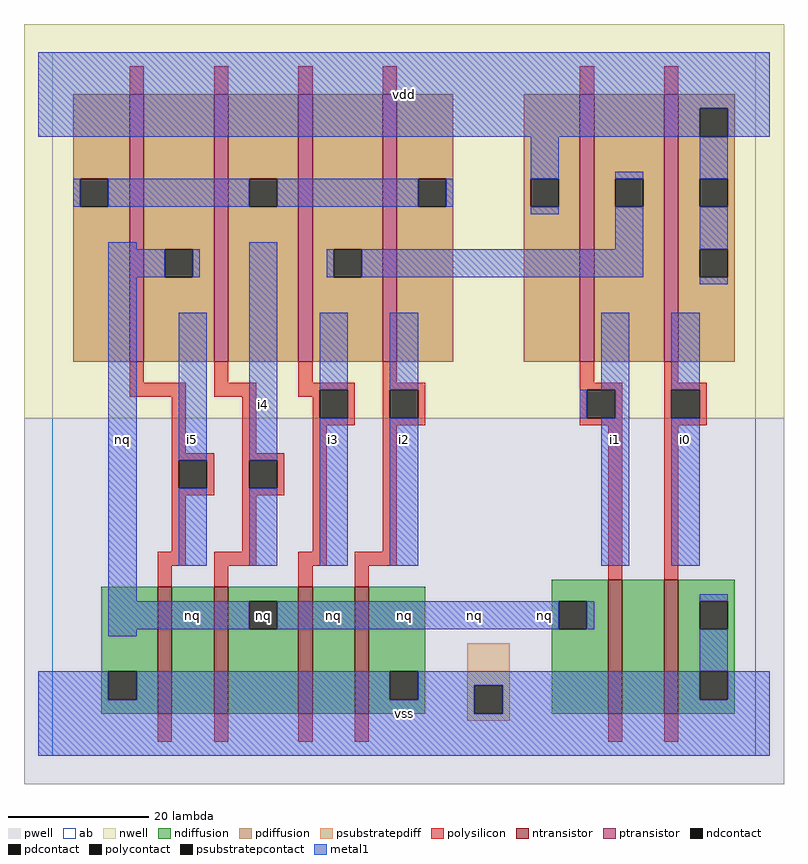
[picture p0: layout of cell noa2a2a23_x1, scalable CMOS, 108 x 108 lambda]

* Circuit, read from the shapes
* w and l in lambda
.subckt noa2a2a23_x1 i0 i1 i2 i3 i4 i5 nq vdd vss
M1 n1 i5 vss vss nfet w=18 l=2
M2 nq i4 n1 vss nfet w=18 l=2
M3 n2 i3 nq vss nfet w=18 l=2
M4 vss i2 n2 vss nfet w=18 l=2
M5 n3 i1 nq vss nfet w=19 l=2
M6 vss i0 n3 vss nfet w=19 l=2
M7 nq i5 n4 n5 pfet w=38 l=2
M8 n4 i4 nq n5 pfet w=38 l=2
M9 n6 i3 n4 n5 pfet w=38 l=2
M10 n4 i2 n6 n5 pfet w=38 l=2
M11 n6 i1 vdd n5 pfet w=38 l=2
M12 vdd i0 n6 n5 pfet w=38 l=2
.ends

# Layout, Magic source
magic
tech scmos
<< ab >>
rect 0 0 100 100
<< pwell >>
rect -4 -4 104 48
<< nwell >>
rect -4 48 104 104
<< polysilicon >>
rect 11 94 13 98
rect 23 94 25 98
rect 35 94 37 98
rect 47 94 49 98
rect 75 94 77 98
rect 87 94 89 98
rect 11 53 13 56
rect 23 53 25 56
rect 35 53 37 56
rect 47 53 49 56
rect 75 53 77 56
rect 87 53 89 56
rect 11 51 19 53
rect 23 51 29 53
rect 35 52 43 53
rect 35 51 38 52
rect 17 43 19 51
rect 27 43 29 51
rect 37 48 38 51
rect 42 48 43 52
rect 37 47 43 48
rect 47 52 53 53
rect 47 48 48 52
rect 52 48 53 52
rect 47 47 53 48
rect 75 52 81 53
rect 75 48 76 52
rect 80 48 81 52
rect 75 47 81 48
rect 17 42 23 43
rect 17 38 18 42
rect 22 38 23 42
rect 17 37 23 38
rect 27 42 33 43
rect 27 38 28 42
rect 32 38 33 42
rect 27 37 33 38
rect 17 29 19 37
rect 27 29 29 37
rect 37 29 39 47
rect 47 29 49 47
rect 15 27 19 29
rect 23 27 29 29
rect 35 27 39 29
rect 43 27 49 29
rect 15 24 17 27
rect 23 24 25 27
rect 35 24 37 27
rect 43 24 45 27
rect 79 25 81 47
rect 87 52 93 53
rect 87 48 88 52
rect 92 48 93 52
rect 87 47 93 48
rect 87 25 89 47
rect 15 2 17 6
rect 23 2 25 6
rect 35 2 37 6
rect 43 2 45 6
rect 79 2 81 6
rect 87 2 89 6
<< ndiffusion >>
rect 7 12 15 24
rect 7 8 8 12
rect 12 8 15 12
rect 7 6 15 8
rect 17 6 23 24
rect 25 22 35 24
rect 25 18 28 22
rect 32 18 35 22
rect 25 6 35 18
rect 37 6 43 24
rect 45 12 53 24
rect 71 22 79 25
rect 71 18 72 22
rect 76 18 79 22
rect 45 8 48 12
rect 52 8 53 12
rect 45 6 53 8
rect 71 6 79 18
rect 81 6 87 25
rect 89 22 97 25
rect 89 18 92 22
rect 96 18 97 22
rect 89 12 97 18
rect 89 8 92 12
rect 96 8 97 12
rect 89 6 97 8
<< pdiffusion >>
rect 3 82 11 94
rect 3 78 4 82
rect 8 78 11 82
rect 3 56 11 78
rect 13 72 23 94
rect 13 68 16 72
rect 20 68 23 72
rect 13 56 23 68
rect 25 82 35 94
rect 25 78 28 82
rect 32 78 35 82
rect 25 56 35 78
rect 37 72 47 94
rect 37 68 40 72
rect 44 68 47 72
rect 37 56 47 68
rect 49 82 57 94
rect 49 78 52 82
rect 56 78 57 82
rect 49 56 57 78
rect 67 82 75 94
rect 67 78 68 82
rect 72 78 75 82
rect 67 56 75 78
rect 77 82 87 94
rect 77 78 80 82
rect 84 78 87 82
rect 77 56 87 78
rect 89 92 97 94
rect 89 88 92 92
rect 96 88 97 92
rect 89 82 97 88
rect 89 78 92 82
rect 96 78 97 82
rect 89 72 97 78
rect 89 68 92 72
rect 96 68 97 72
rect 89 56 97 68
<< metal1 >>
rect -2 92 102 100
rect -2 88 92 92
rect 96 88 102 92
rect 68 82 72 88
rect 3 78 4 82
rect 8 78 28 82
rect 32 78 52 82
rect 56 78 57 82
rect 68 77 72 78
rect 80 82 84 83
rect 8 72 12 73
rect 8 68 16 72
rect 20 68 21 72
rect 8 22 12 68
rect 18 42 22 63
rect 18 27 22 38
rect 28 42 32 73
rect 80 72 84 78
rect 39 68 40 72
rect 44 68 84 72
rect 92 82 96 88
rect 92 72 96 78
rect 92 67 96 68
rect 28 27 32 38
rect 38 52 42 63
rect 38 27 42 48
rect 48 52 52 63
rect 78 52 82 63
rect 75 48 76 52
rect 80 48 82 52
rect 48 27 52 48
rect 78 27 82 48
rect 88 52 92 63
rect 88 27 92 48
rect 92 22 96 23
rect 8 18 28 22
rect 32 18 72 22
rect 76 18 77 22
rect 8 17 12 18
rect 92 12 96 18
rect -2 8 8 12
rect 12 8 48 12
rect 52 10 92 12
rect 52 8 60 10
rect -2 6 60 8
rect 64 8 92 10
rect 96 8 102 12
rect 64 6 102 8
rect -2 0 102 6
<< ntransistor >>
rect 15 6 17 24
rect 23 6 25 24
rect 35 6 37 24
rect 43 6 45 24
rect 79 6 81 25
rect 87 6 89 25
<< ptransistor >>
rect 11 56 13 94
rect 23 56 25 94
rect 35 56 37 94
rect 47 56 49 94
rect 75 56 77 94
rect 87 56 89 94
<< polycontact >>
rect 38 48 42 52
rect 48 48 52 52
rect 76 48 80 52
rect 18 38 22 42
rect 28 38 32 42
rect 88 48 92 52
<< ndcontact >>
rect 8 8 12 12
rect 28 18 32 22
rect 72 18 76 22
rect 48 8 52 12
rect 92 18 96 22
rect 92 8 96 12
<< pdcontact >>
rect 4 78 8 82
rect 16 68 20 72
rect 28 78 32 82
rect 40 68 44 72
rect 52 78 56 82
rect 68 78 72 82
rect 80 78 84 82
rect 92 88 96 92
rect 92 78 96 82
rect 92 68 96 72
<< psubstratepcontact >>
rect 60 6 64 10
<< psubstratepdiff >>
rect 59 10 65 16
rect 59 6 60 10
rect 64 6 65 10
rect 59 5 65 6
<< labels >>
rlabel metal1 10 45 10 45 6 nq
rlabel ndcontact 30 20 30 20 6 nq
rlabel metal1 20 20 20 20 6 nq
rlabel metal1 20 45 20 45 6 i5
rlabel metal1 30 50 30 50 6 i4
rlabel metal1 50 6 50 6 6 vss
rlabel metal1 50 20 50 20 6 nq
rlabel metal1 40 20 40 20 6 nq
rlabel metal1 40 45 40 45 6 i3
rlabel metal1 50 45 50 45 6 i2
rlabel metal1 50 94 50 94 6 vdd
rlabel metal1 70 20 70 20 6 nq
rlabel metal1 60 20 60 20 6 nq
rlabel metal1 80 45 80 45 6 i1
rlabel metal1 90 45 90 45 6 i0
<< end >>
